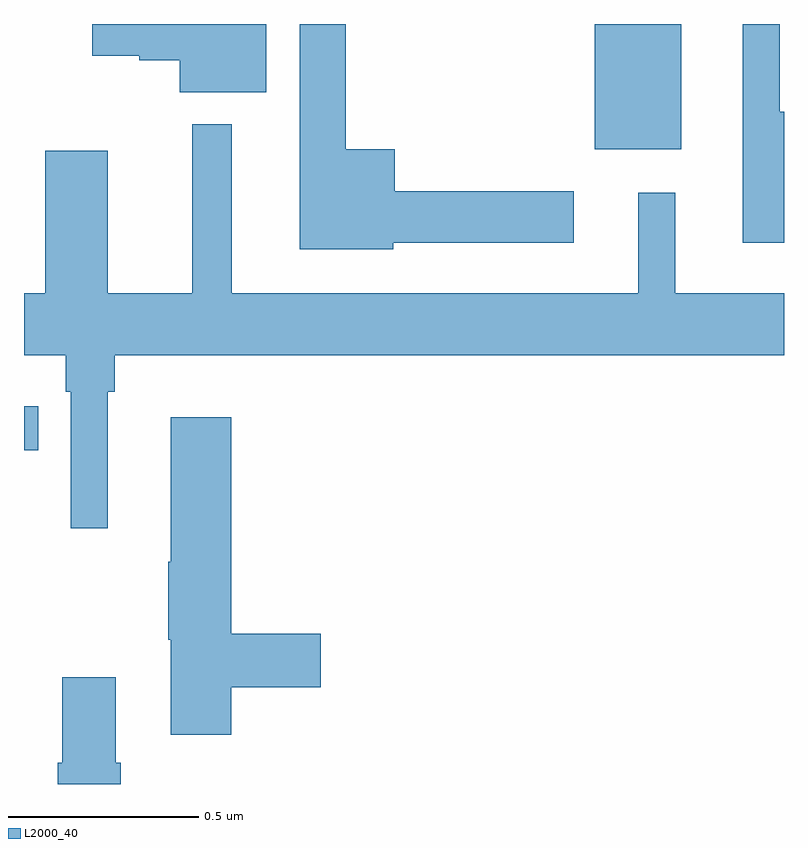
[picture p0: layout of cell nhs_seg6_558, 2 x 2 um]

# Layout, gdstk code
import gdstk
lib = gdstk.Library(unit=1e-6, precision=1e-09)
def R(c, l, rs):  # rectangles x0, y0, x1, y1
    for r in rs: c.add(gdstk.rectangle(r[:2], r[2:], *l))
def P(c, l, *ps):  # polygons
    for p in ps: c.add(gdstk.Polygon(p, *l))
L2000_40 = (2000, 40)

nhs_seg6_558 = lib.new_cell('nhs_seg6_558')
R(nhs_seg6_558, L2000_40, [(117,988.378,117.038,988.494), (118.502,989.171,118.729,989.5)])
P(nhs_seg6_558, L2000_40, [(119,989.269),(118.989,989.269),(118.989,989.5),(118.892,989.5),(118.892,988.925),(119,988.925)],
  [(117.972,988.925),(118.447,988.925),(118.447,989.06),(117.976,989.06),(117.976,989.17),(117.847,989.17),(117.847,989.5),(117.725,989.5),(117.725,988.907),(117.972,988.907)],
  [(117.637,989.5),(117.18,989.5),(117.18,989.417),(117.303,989.417),(117.303,989.405),(117.41,989.405),(117.41,989.321),(117.637,989.321)],
  [(117.22,988.532),(117.239,988.532),(117.239,988.628),(119,988.628),(119,988.792),(118.714,988.792),(118.714,989.056),(118.616,989.056),(118.616,988.792),(117.547,988.792),(117.547,989.236),(117.443,989.236),(117.443,988.792),(117.22,988.792),(117.22,989.167),(117.056,989.167),(117.056,988.792),(117,988.792),(117,988.628),(117.11,988.628),(117.11,988.532),(117.123,988.532),(117.123,988.173),(117.22,988.173)],
  [(117.545,987.754),(117.781,987.754),(117.781,987.896),(117.545,987.896),(117.545,988.465),(117.386,988.465),(117.386,988.085),(117.379,988.085),(117.379,987.879),(117.386,987.879),(117.386,987.63),(117.545,987.63)],
  [(117.254,987.556),(117.241,987.556),(117.241,987.781),(117.101,987.781),(117.101,987.556),(117.089,987.556),(117.089,987.5),(117.254,987.5)])

lib.write_gds('nhs_seg6_558.gds')
